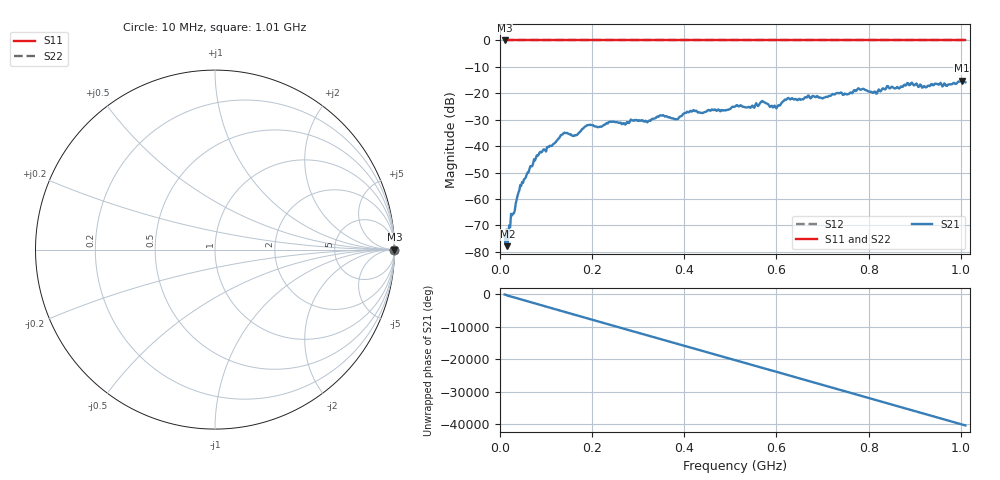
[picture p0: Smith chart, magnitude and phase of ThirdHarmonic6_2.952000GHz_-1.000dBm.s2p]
! 8/17/2025 8:18:21 AM
! C:\ANRITSUVNA\TEMP\TEMP.S2P
! CHANNEL.1
! TR.MEASUREMENT
! RAW.DATA
! RF.CORRECTION.OFF
! AVERAGING.OFF
! IF.BANDWIDTH: 5KHZ
! SWEEPTYPE:  FREQ.SWEEP(Linear)
! Reference Plane Port Info
! PORT:  PORT1  PORT2
! DISTANCE:  0  m  0  m
! TIME:  0  s  0  s
! PHASE.OFFSET:  0  deg.  0  deg.
! LOSS:  0  dB  0  dB
! REF.LOSS:  0  dB  0  dB
! REF.FREQ:  0  Hz  0  Hz
! Power Info
! POWER:  -20  dBm  -20  dBm
! EFF.POWER:  -20  dBm  -20  dBm
! SOURCE.ATTEN:  0  dB  0  dB
! TEST.ATTEN:  0  dB  0  dB
# GHZ S RI R 50.0
! FREQ.GHZ  S11RE  S11IM  S21RE  S21IM  S12RE  S12IM  S22RE  S22IM
!; PortSelection: Port_12
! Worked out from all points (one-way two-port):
!   501 points, 10 MHz to 1.01 GHz, reference 50 ohm
!   highest |S21| = -15.18 dB at 1.002 GHz (marker M1); lowest = -77.9 dB at 16 MHz (marker M2)
!   lowest |S11| = 0.0 dB at 10 MHz (marker M3)
!   |S11| at or under -10 dB: nowhere
!   |S22| runs from 0.0 to 0.0 dB; largest |S21 - S12| = 1.2
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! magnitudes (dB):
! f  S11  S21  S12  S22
! 10 MHz  0.0  -73.9  0.0  0.0
! 16 MHz  0.0  -77.9  0.0  0.0
! 44 MHz  0.0  -54.7  0.0  0.0
! 78 MHz  0.0  -44.4  0.0  0.0
! 136 MHz  0.0  -35.6  0.0  0.0
! 162 MHz  0.0  -35.9  0.0  0.0
! 178 MHz  0.0  -33.6  0.0  0.0
! 192 MHz  0.0  -32.0  0.0  0.0
! 344 MHz  0.0  -28.9  0.0  0.0
! 382 MHz  0.0  -29.8  0.0  0.0
! 416 MHz  0.0  -26.9  0.0  0.0
! 510 MHz  0.0  -25.0  0.0  0.0
! 548 MHz  0.0  -24.7  0.0  0.0
! 570 MHz  0.0  -22.9  0.0  0.0
! 596 MHz  0.0  -24.7  0.0  0.0
! 622 MHz  0.0  -22.3  0.0  0.0
! 678 MHz  0.0  -21.0  0.0  0.0
! 780 MHz  0.0  -18.4  0.0  0.0
! 814 MHz  0.0  -19.4  0.0  0.0
! 844 MHz  0.0  -17.9  0.0  0.0
! 1.002 GHz  0.0  -15.2  0.0  0.0
! 1.01 GHz  0.0  -15.8  0.0  0.0
